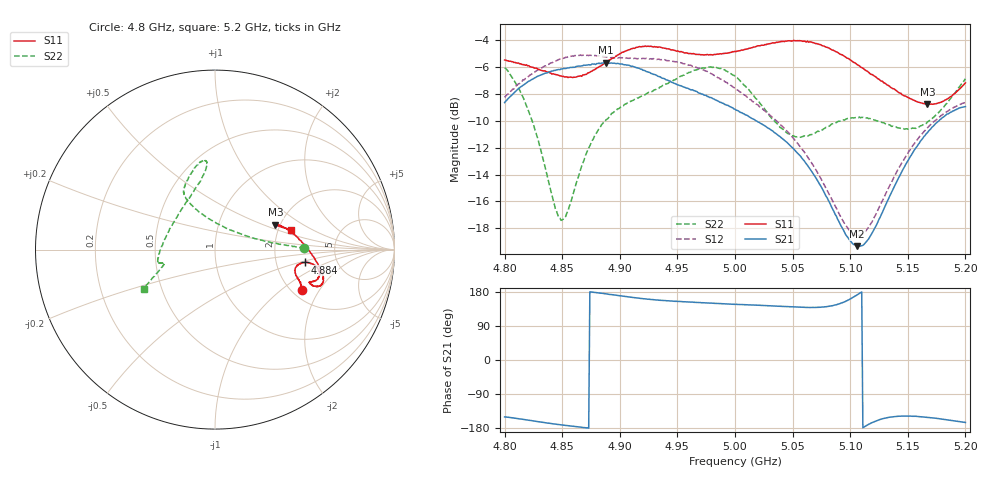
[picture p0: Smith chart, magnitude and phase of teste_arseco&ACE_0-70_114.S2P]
! Network Analyzer HP8722D
! Hewlett-Packard
! Data name: Linha & Wilkinson
! Saver's name: Rodrigo Anjos
! Comments: Teste da utilização de aquisição
! continua pelo VNA HP8722D
! Time and date: 8/5/2025 13:42
!  Frequency  S11  S21  S12  S22
# HZ  S  MA R 50
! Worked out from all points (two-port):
!   401 points, 4.8 GHz to 5.2 GHz, reference 50 ohm
!   highest |S21| = -5.66 dB at 4.888 GHz (marker M1); lowest = -19.3 dB at 5.106 GHz (marker M2)
!   |S21| within 3 dB of the highest: start of sweep to 4.989 GHz
!   lowest |S11| = -8.8 dB at 5.167 GHz (marker M3), VSWR 2.15, Z = 94.5 + j30.3 ohm
!   |S11| at or under -10 dB: nowhere
!   |S22| runs from -17.4 to -6.0 dB; largest |S21 - S12| = 1.1
!   S11 on the Smith chart (normalised r, x): 4.8 GHz: 2.24, -1.42; 4.884 GHz: 2.94, -0.57; 5.2 GHz: 2.35, +0.64
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4.8e9  0.5329 -25.2  0.3698 -150.1  0.3868 9.3  0.4983 1.2
4.811e9  0.5187 -22.7  0.4128 -154.5  0.4298 7.8  0.4268 2.8
4.822e9  0.5032 -20.7  0.4459 -159.3  0.4682 6.1  0.3334 6.1
4.848e9  0.465 -16.4  0.4903 -170.7  0.5372 1.9  0.1372 57.4
4.855e9  0.4583 -14.5  0.4977 -173.4  0.547 0.8  0.1457 85.9
4.867e9  0.4632 -10.9  0.5068 -177.8  0.5537 -0.8  0.2154 110.8
4.884e9  0.5077 -8.1  0.5187 176.2  0.55 -2.0  0.305 119.0
4.888e9  0.5231 -8.1  0.5211 174.5  0.5469 -2.1  0.3189 118.8
4.91e9  0.5868 -10.8  0.5042 165.5  0.5398 -1.6  0.3744 117.6
4.934e9  0.5963 -16.0  0.4622 157.7  0.5367 -2.3  0.4185 111.1
4.977e9  0.5565 -19.0  0.3892 150.3  0.4798 -6.2  0.5014 97.3
5e9  0.5737 -20.0  0.3494 146.8  0.4192 -5.9  0.4641 95.8
5.018e9  0.5972 -20.0  0.3166 144.8  0.3655 -3.2  0.3829 103.3
5.044e9  0.6271 -18.0  0.2651 140.9  0.2928 2.2  0.2876 132.0
5.067e9  0.6198 -13.7  0.2036 138.8  0.2189 9.0  0.2815 164.9
5.095e9  0.5506 -4.2  0.1217 153.3  0.1313 33.7  0.3181 -172.1
5.106e9  0.5121 0.9  0.1079 171.8  0.1183 54.4  0.326 -168.4
5.116e9  0.4796 5.9  0.1148 -169.9  0.1271 74.2  0.3222 -166.6
5.134e9  0.4263 14.7  0.1648 -151.1  0.1804 94.6  0.3057 -166.0
5.167e9  0.3644 22.4  0.2857 -151.2  0.2977 101.4  0.3132 -161.5
5.183e9  0.3789 20.2  0.3321 -157.3  0.3403 101.4  0.3643 -156.8
5.2e9  0.4379 14.6  0.3573 -164.8  0.3706 101.8  0.4536 -151.0
